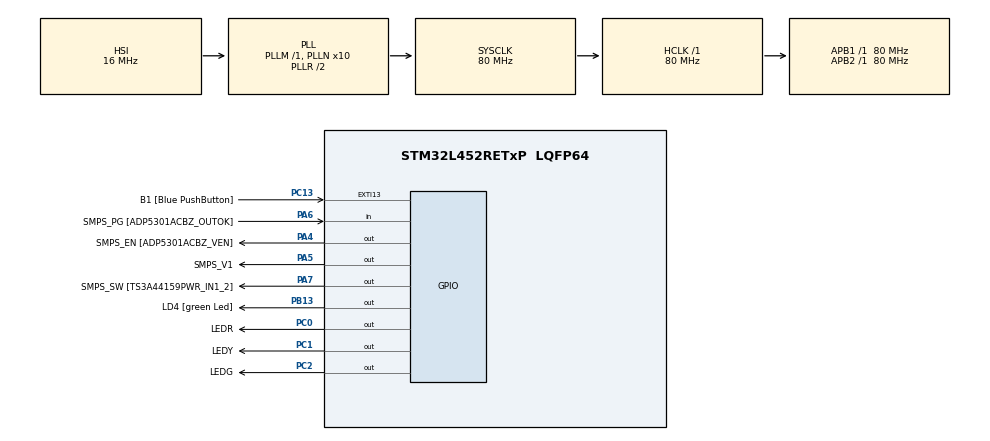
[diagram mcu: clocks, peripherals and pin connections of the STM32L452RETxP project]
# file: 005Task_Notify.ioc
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Mcu.Family=STM32L4
PA2.GPIO_PuPd=GPIO_NOPULL
VP_SYS_VS_tim6.Mode=TIM6
RCC.CortexFreq_Value=80000000
NVIC.TIM6_DAC_IRQn=true\:0\:0\:false\:false\:true\:false\:true
PH0-OSC_IN\ (PH0).Signal=RCC_OSC_IN
PA3.GPIO_PuPd=GPIO_NOPULL
PA2.GPIO_Speed=GPIO_SPEED_FREQ_VERY_HIGH
PC0.GPIO_Label=LEDR
PA6.GPIO_Label=SMPS_PG [ADP5301ACBZ_OUTOK]
PC13.GPIO_Label=B1 [Blue PushButton]
PB13.GPIO_Label=LD4 [green Led]
PA3.GPIO_Speed=GPIO_SPEED_FREQ_VERY_HIGH
PB13.Signal=GPIO_Output
RCC.SYSCLKSource=RCC_SYSCLKSOURCE_PLLCLK
ProjectManager.StackSize=0x400
PA14\ (JTCK/SWCLK).Signal=SYS_JTCK-SWCLK
RCC.HCLKFreq_Value=80000000
RCC.APB2TimFreq_Value=80000000
RCC.AHBFreq_Value=80000000
RCC.PREFETCH_ENABLE=1
NVIC.EXTI15_10_IRQn=true\:6\:0\:true\:false\:true\:true\:true
RCC.HSE_VALUE=8000000
PA13\ (JTMS/SWDIO).GPIO_Label=TMS
PA6.GPIO_PuPd=GPIO_PULLUP
PA5.GPIO_PuPd=GPIO_NOPULL
PC13.GPIO_PuPd=GPIO_NOPULL
Mcu.Package=LQFP64
PA6.Signal=GPIO_Input
NVIC.TimeBase=TIM6_DAC_IRQn
PA2.GPIO_Label=USART_TX
NVIC.TimeBaseIP=TIM6
PA14\ (JTCK/SWCLK).GPIO_Label=TCK
RCC.APB1TimFreq_Value=80000000
PA4.GPIO_Label=SMPS_EN [ADP5301ACBZ_VEN]
PC2.GPIO_Label=LEDG
RCC.HSI48_VALUE=48000000
PA3.Signal=USART2_RX
PA2.GPIO_Mode=GPIO_MODE_AF_PP
PB3\ (JTDO/TRACESWO).GPIO_Label=SWO
RCC.MSI_VALUE=4000000
RCC.PLLSourceVirtual=RCC_PLLSOURCE_HSI
PC13.Signal=GPXTI13
PC2.Signal=GPIO_Output
PC15-OSC32_OUT\ (PC15).Signal=RCC_OSC32_OUT
PC0.Signal=GPIO_Output
PH1-OSC_OUT\ (PH1).Signal=RCC_OSC_OUT
PB3\ (JTDO/TRACESWO).Signal=SYS_JTDO-SWO
ProjectManager.TargetToolchain=STM32CubeIDE
PA3.GPIO_Mode=GPIO_MODE_AF_PP
RCC.USBFreq_Value=64000000
RCC.LSE_VALUE=32768
PA5.Signal=GPIO_Output
board=NUCLEO-L452RE-P
RCC.VCOOutputFreq_Value=160000000
RCC.APB2Freq_Value=80000000
PA5.GPIO_ModeDefaultOutputPP=GPIO_MODE_OUTPUT_PP
RCC.ADCFreq_Value=64000000
PC1.GPIO_Label=LEDY
Mcu.Name=STM32L452RETxP
PA2.Signal=USART2_TX
PA4.Signal=GPIO_Output
RCC.SYSCLKFreq_VALUE=80000000
PA7.GPIO_Label=SMPS_SW [TS3A44159PWR_IN1_2]
PA5.GPIO_Label=SMPS_V1
PC13.GPIO_ModeDefaultEXTI=GPIO_MODE_IT_FALLING
PC14-OSC32_IN\ (PC14).Signal=RCC_OSC32_IN
ProjectManager.HeapSize=0x200
RCC.HSI_VALUE=16000000
PA5.GPIO_Speed=GPIO_SPEED_FREQ_LOW
NVIC.PriorityGroup=NVIC_PRIORITYGROUP_4
PH0-OSC_IN\ (PH0).GPIO_Label=MCO
RCC.PLLN=10
RCC.APB1Freq_Value=80000000
PC1.Signal=GPIO_Output
PA13\ (JTMS/SWDIO).Signal=SYS_JTMS-SWDIO
PA3.GPIO_Label=USART_RX
PA7.Signal=GPIO_Output

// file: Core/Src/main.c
/* USER CODE BEGIN Header */
/**
  ******************************************************************************
  * @file           : main.c
  * @brief          : Main program body
  ******************************************************************************
  * @attention
  *
  * <h2><center>&copy; Copyright (c) 2022 STMicroelectronics.
  * All rights reserved.</center></h2>
  *
  * This software component is licensed by ST under BSD 3-Clause license,
  * the "License"; You may not use this file except in compliance with the
  * License. You may obtain a copy of the License at:
  *                        opensource.org/licenses/BSD-3-Clause
  *
  ******************************************************************************
  */
/* USER CODE END Header */
#include "main.h"

/* USER CODE BEGIN Includes */
#include <stdio.h>
#include "FreeRTOS.h"
#include "task.h"
/* USER CODE END Includes */

/* USER CODE BEGIN PV */
TaskHandle_t _ledr_task_handle;
TaskHandle_t _ledy_task_handle;
TaskHandle_t _ledg_task_handle;
TaskHandle_t _button_task_handle;

TaskHandle_t volatile _next_task_handle = NULL;
/* USER CODE END PV */

void SystemClock_Config(void);
static void MX_GPIO_Init(void);
/* USER CODE BEGIN PFP */
static void ledr_handler(void *parameters);
static void ledy_handler(void *parameters);
static void ledg_handler(void *parameters);
static void button_handler(void *parameters);
/* USER CODE END PFP */

int main(void)
{

  /* MCU Configuration--------------------------------------------------------*/

  /* Reset of all peripherals, Initializes the Flash interface and the Systick. */
  HAL_Init();

  /* Configure the system clock */
  SystemClock_Config();

  /* Initialize all configured peripherals */
  MX_GPIO_Init();
  /* USER CODE BEGIN 2 */
  BaseType_t status;
  status = xTaskCreate(ledg_handler, "LEDG", 200, NULL, 3, &_ledg_task_handle);
  configASSERT(status == pdPASS);

  _next_task_handle = _ledg_task_handle;

  status = xTaskCreate(ledy_handler, "LEDY", 200, NULL, 2, &_ledy_task_handle);
  configASSERT(status == pdPASS);

  status = xTaskCreate(ledr_handler, "LEDR", 200, NULL, 1, &_ledr_task_handle);
  configASSERT(status == pdPASS);

  // Start scheduler
  vTaskStartScheduler();

  /* USER CODE END 2 */

  /* Infinite loop */
  while (1)
  {

  }
}

void SystemClock_Config(void)
{
  RCC_OscInitTypeDef RCC_OscInitStruct = {0};
  RCC_ClkInitTypeDef RCC_ClkInitStruct = {0};

  /** Initializes the RCC Oscillators according to the specified parameters
  * in the RCC_OscInitTypeDef structure.
  */
  RCC_OscInitStruct.OscillatorType = RCC_OSCILLATORTYPE_HSI;
  RCC_OscInitStruct.HSIState = RCC_HSI_ON;
  RCC_OscInitStruct.HSICalibrationValue = RCC_HSICALIBRATION_DEFAULT;
  RCC_OscInitStruct.PLL.PLLState = RCC_PLL_ON;
  RCC_OscInitStruct.PLL.PLLSource = RCC_PLLSOURCE_HSI;
  RCC_OscInitStruct.PLL.PLLM = 1;
  RCC_OscInitStruct.PLL.PLLN = 10;
  RCC_OscInitStruct.PLL.PLLP = RCC_PLLP_DIV7;
  RCC_OscInitStruct.PLL.PLLQ = RCC_PLLQ_DIV2;
  RCC_OscInitStruct.PLL.PLLR = RCC_PLLR_DIV2;
  if (HAL_RCC_OscConfig(&RCC_OscInitStruct) != HAL_OK)
  {
    Error_Handler();
  }
  /** Initializes the CPU, AHB and APB buses clocks
  */
  RCC_ClkInitStruct.ClockType = RCC_CLOCKTYPE_HCLK|RCC_CLOCKTYPE_SYSCLK
                              |RCC_CLOCKTYPE_PCLK1|RCC_CLOCKTYPE_PCLK2;
  RCC_ClkInitStruct.SYSCLKSource = RCC_SYSCLKSOURCE_PLLCLK;
  RCC_ClkInitStruct.AHBCLKDivider = RCC_SYSCLK_DIV1;
  RCC_ClkInitStruct.APB1CLKDivider = RCC_HCLK_DIV1;
  RCC_ClkInitStruct.APB2CLKDivider = RCC_HCLK_DIV1;

  if (HAL_RCC_ClockConfig(&RCC_ClkInitStruct, FLASH_LATENCY_4) != HAL_OK)
  {
    Error_Handler();
  }
  /** Configure the main internal regulator output voltage
  */
  if (HAL_PWREx_ControlVoltageScaling(PWR_REGULATOR_VOLTAGE_SCALE1) != HAL_OK)
  {
    Error_Handler();
  }
}

static void MX_GPIO_Init(void)
{
  GPIO_InitTypeDef GPIO_InitStruct = {0};

  /* GPIO Ports Clock Enable */
  __HAL_RCC_GPIOC_CLK_ENABLE();
  __HAL_RCC_GPIOH_CLK_ENABLE();
  __HAL_RCC_GPIOA_CLK_ENABLE();
  __HAL_RCC_GPIOB_CLK_ENABLE();

  /*Configure GPIO pin Output Level */
  HAL_GPIO_WritePin(GPIOC, LEDR_Pin|LEDY_Pin|LEDG_Pin, GPIO_PIN_RESET);

  /*Configure GPIO pin Output Level */
  HAL_GPIO_WritePin(GPIOA, SMPS_EN_Pin|SMPS_V1_Pin|SMPS_SW_Pin, GPIO_PIN_RESET);

  /*Configure GPIO pin Output Level */
  HAL_GPIO_WritePin(LD4_GPIO_Port, LD4_Pin, GPIO_PIN_RESET);

  /*Configure GPIO pin : B1_Pin */
  GPIO_InitStruct.Pin = B1_Pin;
  GPIO_InitStruct.Mode = GPIO_MODE_IT_FALLING;
  GPIO_InitStruct.Pull = GPIO_NOPULL;
  HAL_GPIO_Init(B1_GPIO_Port, &GPIO_InitStruct);

  /*Configure GPIO pins : LEDR_Pin LEDY_Pin LEDG_Pin */
  GPIO_InitStruct.Pin = LEDR_Pin|LEDY_Pin|LEDG_Pin;
  GPIO_InitStruct.Mode = GPIO_MODE_OUTPUT_PP;
  GPIO_InitStruct.Pull = GPIO_NOPULL;
  GPIO_InitStruct.Speed = GPIO_SPEED_FREQ_LOW;
  HAL_GPIO_Init(GPIOC, &GPIO_InitStruct);

  /*Configure GPIO pins : USART_TX_Pin USART_RX_Pin */
  GPIO_InitStruct.Pin = USART_TX_Pin|USART_RX_Pin;
  GPIO_InitStruct.Mode = GPIO_MODE_AF_PP;
  GPIO_InitStruct.Pull = GPIO_NOPULL;
  GPIO_InitStruct.Speed = GPIO_SPEED_FREQ_VERY_HIGH;
  GPIO_InitStruct.Alternate = GPIO_AF7_USART2;
  HAL_GPIO_Init(GPIOA, &GPIO_InitStruct);

  /*Configure GPIO pins : SMPS_EN_Pin SMPS_V1_Pin SMPS_SW_Pin */
  GPIO_InitStruct.Pin = SMPS_EN_Pin|SMPS_V1_Pin|SMPS_SW_Pin;
  GPIO_InitStruct.Mode = GPIO_MODE_OUTPUT_PP;
  GPIO_InitStruct.Pull = GPIO_NOPULL;
  GPIO_InitStruct.Speed = GPIO_SPEED_FREQ_LOW;
  HAL_GPIO_Init(GPIOA, &GPIO_InitStruct);

  /*Configure GPIO pin : SMPS_PG_Pin */
  GPIO_InitStruct.Pin = SMPS_PG_Pin;
  GPIO_InitStruct.Mode = GPIO_MODE_INPUT;
  GPIO_InitStruct.Pull = GPIO_PULLUP;
  HAL_GPIO_Init(SMPS_PG_GPIO_Port, &GPIO_InitStruct);

  /*Configure GPIO pin : LD4_Pin */
  GPIO_InitStruct.Pin = LD4_Pin;
  GPIO_InitStruct.Mode = GPIO_MODE_OUTPUT_PP;
  GPIO_InitStruct.Pull = GPIO_NOPULL;
  GPIO_InitStruct.Speed = GPIO_SPEED_FREQ_LOW;
  HAL_GPIO_Init(LD4_GPIO_Port, &GPIO_InitStruct);

  /* EXTI interrupt init*/
  HAL_NVIC_SetPriority(EXTI15_10_IRQn, 6, 0);
  HAL_NVIC_EnableIRQ(EXTI15_10_IRQn);

}

/* USER CODE BEGIN 4 */

/**
 * Button press ISR
 */
void button_interrupt_handler(void)
{
    BaseType_t pxHigherPriorityTaskWoken;
    pxHigherPriorityTaskWoken = pdFALSE;

    xTaskNotifyFromISR(_next_task_handle, 0, eNoAction, NULL);

    portYIELD_FROM_ISR(pxHigherPriorityTaskWoken);
}

static void ledg_handler(void *parameters)
{
    BaseType_t status;

    while(1)
    {
        HAL_GPIO_TogglePin(LEDG_GPIO_Port, LEDG_Pin);
        status = xTaskNotifyWait(0, 0, NULL, pdMS_TO_TICKS(1000));
        if (status == pdTRUE)
        {
            portENTER_CRITICAL();
            _next_task_handle = _ledy_task_handle;
            HAL_GPIO_WritePin(LEDG_GPIO_Port, LEDG_Pin, GPIO_PIN_SET);
            portEXIT_CRITICAL();

            vTaskSuspend(NULL); // self suspend

        }
    }
}

static void ledy_handler(void *parameters)
{
    BaseType_t status;

    while(1)
    {
        HAL_GPIO_TogglePin(LEDY_GPIO_Port, LEDY_Pin);
        status = xTaskNotifyWait(0, 0, NULL, pdMS_TO_TICKS(800));
        if (status == pdTRUE)
        {
            portENTER_CRITICAL();
            _next_task_handle = _ledr_task_handle;
            HAL_GPIO_WritePin(LEDY_GPIO_Port, LEDY_Pin, GPIO_PIN_SET);
            portEXIT_CRITICAL();

            vTaskSuspend(NULL); // self suspend
        }
    }
}

static void ledr_handler(void *parameters)
{
    BaseType_t status;

    while(1)
    {
        HAL_GPIO_TogglePin(LEDR_GPIO_Port, LEDR_Pin);
        status = xTaskNotifyWait(0, 0, NULL, pdMS_TO_TICKS(400));
        if (status == pdTRUE)
        {
            portENTER_CRITICAL();
            _next_task_handle = NULL;
            HAL_GPIO_WritePin(LEDR_GPIO_Port, LEDR_Pin, GPIO_PIN_SET);
            portEXIT_CRITICAL();

            vTaskSuspend(NULL); // self suspend
        }
    }
}

/**
 * Non ISR Based button handler
 */
__unused static void button_handler(void *parameters)
{
    uint8_t btn_read = 0;
    uint8_t prev_read = 0;

    while (1)
    {
        btn_read = HAL_GPIO_ReadPin(B1_GPIO_Port, B1_Pin);
        if (btn_read) // button pressed
        {
            if (!prev_read) // first press
            {
                if(_next_task_handle != NULL)
                {
                    xTaskNotify(_next_task_handle, 0, eNoAction);
                }
                else
                {
                    vTaskSuspendAll();
                    vTaskResume(_ledg_task_handle);
                    vTaskResume(_ledy_task_handle);
                    vTaskResume(_ledr_task_handle);
                    _next_task_handle = _ledg_task_handle;
                    xTaskResumeAll();
                }
            }
        }
        prev_read = btn_read;
        vTaskDelay(pdMS_TO_TICKS(10));
    }
}

/* USER CODE END 4 */

 /**
  * @brief  Period elapsed callback in non blocking mode
  * @note   This function is called  when TIM6 interrupt took place, inside
  * HAL_TIM_IRQHandler(). It makes a direct call to HAL_IncTick() to increment
  * a global variable "uwTick" used as application time base.
  * @param  htim : TIM handle
  * @retval None
  */
void HAL_TIM_PeriodElapsedCallback(TIM_HandleTypeDef *htim)
{
  if (htim->Instance == TIM6) {
    HAL_IncTick();
  }
}

void Error_Handler(void)
{
  __disable_irq();
  while (1)
  {
  }
}

/************************ (C) COPYRIGHT STMicroelectronics *****END OF FILE****/
